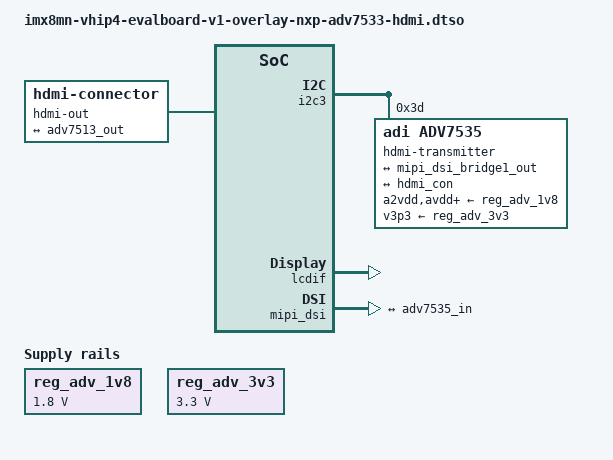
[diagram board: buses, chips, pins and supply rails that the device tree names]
// SPDX-License-Identifier: (GPL-2.0+ OR MIT)
/*
 * Copyright (C) 2021-2026 Marek Vasut
 */
/dts-v1/;
/plugin/;

&{/} {
	cec_clock: clk-cec-fixed {
		#clock-cells = <0>;
		compatible = "fixed-clock";
		clock-frequency = <24000000>;
	};

	hdmi-out {
		compatible = "hdmi-connector";
		type = "a";

		port {
			hdmi_con: endpoint {
				remote-endpoint = <&adv7513_out>;
			};
		};
	};


	reg_adv_1v8: regulator-adv-1v8 {
		compatible = "regulator-fixed";
		regulator-always-on;
		regulator-min-microvolt = <1800000>;
		regulator-max-microvolt = <1800000>;
		regulator-name = "ADV-1V8";
	};

	reg_adv_3v3: regulator-adv-3v3 {
		compatible = "regulator-fixed";
		regulator-always-on;
		regulator-min-microvolt = <3300000>;
		regulator-max-microvolt = <3300000>;
		regulator-name = "ADV-3V3";
	};
};

&i2c3 {
	#address-cells = <1>;
	#size-cells = <0>;
	status = "okay";

	hdmi-transmitter@3d {
		compatible = "adi,adv7535";
		reg = <0x3d>, <0x3e>, <0x3c>, <0x3f>;
		reg-names = "main", "edid", "cec", "packet";
		clocks = <&cec_clock>;
		clock-names = "cec";
		a2vdd-supply = <&reg_adv_1v8>;
		adi,dsi-lanes = <4>;
		avdd-supply = <&reg_adv_1v8>;
		dvdd-supply = <&reg_adv_1v8>;
		pvdd-supply = <&reg_adv_1v8>;
		v3p3-supply = <&reg_adv_3v3>;
		status = "okay";

		ports {
			#address-cells = <1>;
			#size-cells = <0>;

			port@0 {
				reg = <0>;
				adv7535_in: endpoint {
					remote-endpoint = <&mipi_dsi_bridge1_out>;
				};
			};

			port@1 {
				reg = <1>;
				adv7513_out: endpoint {
					remote-endpoint = <&hdmi_con>;
				};
			};
		};
	};
};

&lcdif {
	status = "okay";
};

&mipi_dsi {
	samsung,burst-clock-frequency = <891000000>;
	samsung,esc-clock-frequency = <10000000>;
	status = "okay";

	ports {
		#address-cells = <1>;
		#size-cells = <0>;

		port@1 {
			reg = <1>;

			mipi_dsi_bridge1_out: endpoint {
				data-lanes = <1 2 3 4>;
				remote-endpoint = <&adv7535_in>;
			};
		};
	};
};
